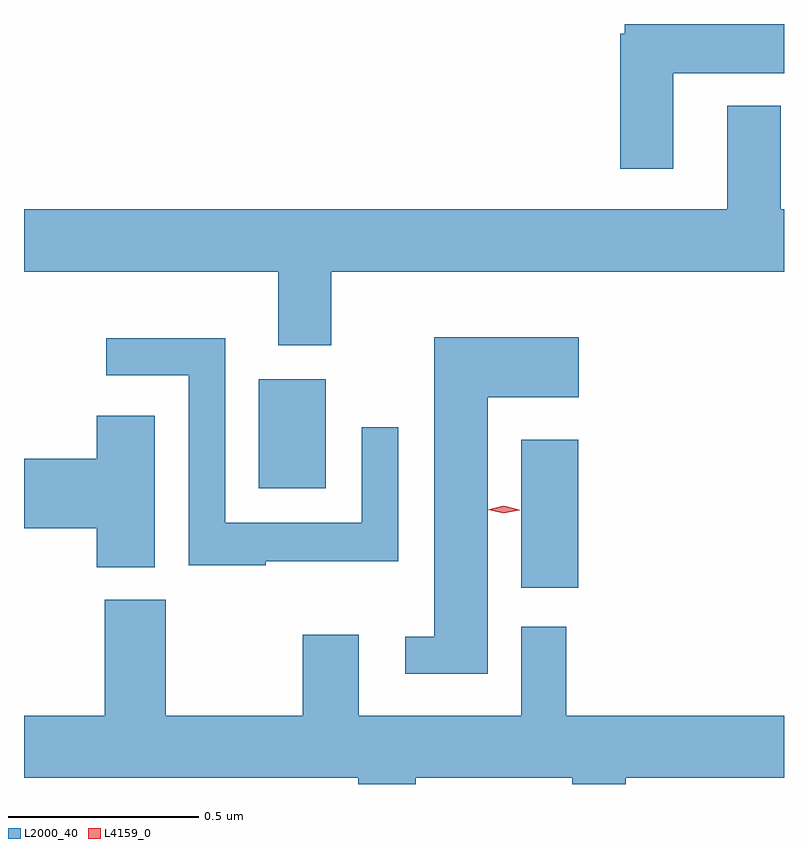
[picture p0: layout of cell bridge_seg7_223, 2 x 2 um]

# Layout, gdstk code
import gdstk
lib = gdstk.Library(unit=1e-6, precision=1e-09)
def R(c, l, rs):  # rectangles x0, y0, x1, y1
    for r in rs: c.add(gdstk.rectangle(r[:2], r[2:], *l))
def P(c, l, *ps):  # polygons
    for p in ps: c.add(gdstk.Polygon(p, *l))
L2000_40 = (2000, 40)
L4159_0 = (4159, 0)

bridge_seg7_223 = lib.new_cell('bridge_seg7_223')
R(bridge_seg7_223, L2000_40, [(313.202,1019.765,313.352,1020.154), (312.512,1020.026,312.688,1020.313)])
P(bridge_seg7_223, L2000_40, [(313.603,1021.118),(313.894,1021.118),(313.894,1021.248),(313.475,1021.248),(313.475,1021.222),(313.463,1021.222),(313.463,1020.867),(313.603,1020.867)],
  [(313.894,1020.76),(313.885,1020.76),(313.885,1021.033),(313.745,1021.033),(313.745,1020.76),(311.894,1020.76),(311.894,1020.596),(312.563,1020.596),(312.563,1020.402),(312.703,1020.402),(312.703,1020.596),(313.894,1020.596)],
  [(313.114,1020.266),(313.354,1020.266),(313.354,1020.424),(312.974,1020.424),(312.974,1019.636),(312.897,1019.636),(312.897,1019.538),(313.114,1019.538)],
  [(312.53,1019.834),(312.879,1019.834),(312.879,1020.187),(312.783,1020.187),(312.783,1019.935),(312.423,1019.935),(312.423,1020.421),(312.111,1020.421),(312.111,1020.324),(312.327,1020.324),(312.327,1019.824),(312.53,1019.824)],
  [(312.238,1020.217),(312.086,1020.217),(312.086,1020.104),(311.894,1020.104),(311.894,1019.921),(312.086,1019.921),(312.086,1019.818),(312.238,1019.818)],
  [(312.925,1019.264),(313.337,1019.264),(313.337,1019.248),(313.477,1019.248),(313.477,1019.264),(313.894,1019.264),(313.894,1019.428),(313.321,1019.428),(313.321,1019.662),(313.202,1019.662),(313.202,1019.428),(312.775,1019.428),(312.775,1019.641),(312.628,1019.641),(312.628,1019.428),(312.267,1019.428),(312.267,1019.733),(312.107,1019.733),(312.107,1019.428),(311.894,1019.428),(311.894,1019.264),(312.773,1019.264),(312.773,1019.248),(312.925,1019.248)])
P(bridge_seg7_223, L4159_0, [(313.156,1019.96),(313.115,1019.97),(313.115,1019.97),(313.115,1019.97),(313.156,1019.98),(313.197,1019.97),(313.198,1019.969),(313.197,1019.969)])

lib.write_gds('bridge_seg7_223.gds')
